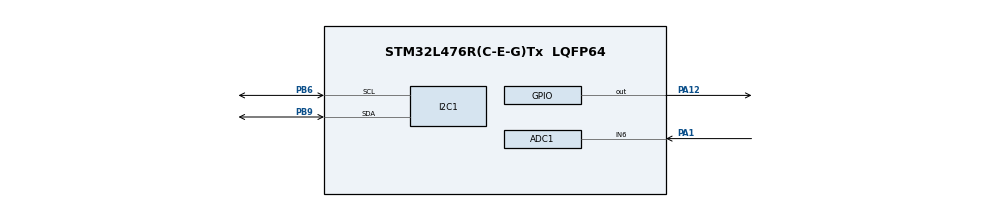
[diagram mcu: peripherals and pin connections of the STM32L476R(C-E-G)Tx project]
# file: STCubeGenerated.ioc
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Mcu.Family=STM32L4
RCC.MSI_VALUE=4000000
PA14\ (JTCK-SWCLK).Mode=Serial_Wire
ADC1.Rank-0\#ChannelRegularConversion=1
VP_ADC1_TempSens_Input.Mode=IN-TempSens
SH.ADCx_IN6.0=ADC1_IN6,IN6-Single-Ended
PH0-OSC_IN\ (PH0).Signal=RCC_OSC_IN
ADC1.OffsetNumber-0\#ChannelRegularConversion=ADC_OFFSET_NONE
PH1-OSC_OUT\ (PH1).Signal=RCC_OSC_OUT
ProjectManager.StackSize=0x400
PA14\ (JTCK-SWCLK).Signal=SYS_JTCK-SWCLK
PA12.Signal=GPIO_Output
ProjectManager.TargetToolchain=MDK-ARM V5
PB9.Mode=I2C
PB6.Signal=I2C1_SCL
PB6.Mode=I2C
RCC.USBFreq_Value=32000000
RCC.LSE_VALUE=32768
PA1.Signal=ADCx_IN6
ADC1.Channel-0\#ChannelRegularConversion=ADC_CHANNEL_TEMPSENSOR
PH1-OSC_OUT\ (PH1).Mode=HSE-External-Oscillator
RCC.HSE_VALUE=8000000
board=custom
RCC.VCOOutputFreq_Value=32000000
RCC.ADCFreq_Value=32000000
Mcu.Name=STM32L476R(C-E-G)Tx
ADC1.SamplingTime-0\#ChannelRegularConversion=ADC_SAMPLETIME_2CYCLES_5
PA13\ (JTMS-SWDIO).Mode=Serial_Wire
Mcu.Package=LQFP64
PB9.Signal=I2C1_SDA
ADC1.master=1
ProjectManager.HeapSize=0x200
RCC.HSI_VALUE=16000000
NVIC.PriorityGroup=NVIC_PRIORITYGROUP_4
ADC1.NbrOfConversionFlag=1
PA13\ (JTMS-SWDIO).Signal=SYS_JTMS-SWDIO
PH0-OSC_IN\ (PH0).Mode=HSE-External-Oscillator
RCC.PLLSAI1N=16

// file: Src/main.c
/* USER CODE BEGIN Header */
/* USER CODE END Header */

#include "main.h"
#include "math.h"
#include "C:\Users\harry\Documents\Analog_TemperatureSensor_Test\i2c-lcd.h"
#include "C:\Users\harry\Documents\Analog_TemperatureSensor_Test\i2c-lcd.c"

ADC_HandleTypeDef hadc1;

I2C_HandleTypeDef hi2c1;

/* USER CODE BEGIN PV */

// Reverses a string 'str' of length 'len'
void reverse(char* str, int len)
{
    int i = 0, j = len - 1, temp;
    while (i < j) {
        temp = str[i];
        str[i] = str[j];
        str[j] = temp;
        i++;
        j--;
    }
}

// Converts a given integer x to string str[].
// d is the number of digits required in the output.
// If d is more than the number of digits in x,
// then 0s are added at the beginning.
int intToStr(int x, char str[], int d)
{
    int i = 0;
    while (x) {
        str[i++] = (x % 10) + '0';
        x = x / 10;
    }

    // If number of digits required is more, then
    // add 0s at the beginning
    while (i < d)
        str[i++] = '0';

    reverse(str, i);
    str[i] = '\0';
    return i;
}

// Converts a floating-point/double number to a string.
void ftoa(float n, char* res, int afterpoint)
{
    // Extract integer part
    int ipart = (int)n;

    // Extract floating part
    float fpart = n - (float)ipart;

    // convert integer part to string
    int i = intToStr(ipart, res, 0);

    // check for display option after point
    if (afterpoint != 0) {
        res[i] = '.'; // add dot

        // Get the value of fraction part upto given no.
        // of points after dot. The third parameter
        // is needed to handle cases like 233.007
        fpart = fpart * pow(10, afterpoint);

        intToStr((int)fpart, res + i + 1, afterpoint);
    }
}
/* USER CODE END PV */

void SystemClock_Config(void);
static void MX_GPIO_Init(void);
static void MX_ADC1_Init(void);
static void MX_I2C1_Init(void);

/* USER CODE BEGIN 0 */
uint32_t adcval;
float temp;
char temp_string[11];
/* USER CODE END 0 */

int main(void)
{

  /* MCU Configuration--------------------------------------------------------*/

  /* Reset of all peripherals, Initializes the Flash interface and the Systick. */
  HAL_Init();

  /* Configure the system clock */
  SystemClock_Config();

  /* Initialize all configured peripherals */
  MX_GPIO_Init();
  MX_ADC1_Init();
  MX_I2C1_Init();

  /* Infinite loop */
  /* USER CODE BEGIN WHILE */
	lcd_init();
	 while (1)
  {
    /* USER CODE END WHILE */

    /* USER CODE BEGIN 3 */

		HAL_ADC_Start(&hadc1);
		if(HAL_ADC_PollForConversion(&hadc1,100000) == HAL_OK){
			adcval = HAL_ADC_GetValue(&hadc1);
			temp = ((adcval * 50.0)/4095.0);
			lcd_put_cur(0,0);
			lcd_send_string("CurrentTemp:");
			HAL_Delay(1000);
			lcd_put_cur(1,0);
			ftoa(temp,temp_string,7);
			lcd_send_string(temp_string);
			lcd_send_string("°C");
			HAL_Delay(1000);
			lcd_clear();

		}
  }
  /* USER CODE END 3 */
}

void SystemClock_Config(void)
{
  RCC_OscInitTypeDef RCC_OscInitStruct = {0};
  RCC_ClkInitTypeDef RCC_ClkInitStruct = {0};
  RCC_PeriphCLKInitTypeDef PeriphClkInit = {0};

  /** Initializes the CPU, AHB and APB busses clocks
  */
  RCC_OscInitStruct.OscillatorType = RCC_OSCILLATORTYPE_MSI;
  RCC_OscInitStruct.MSIState = RCC_MSI_ON;
  RCC_OscInitStruct.MSICalibrationValue = 0;
  RCC_OscInitStruct.MSIClockRange = RCC_MSIRANGE_6;
  RCC_OscInitStruct.PLL.PLLState = RCC_PLL_NONE;
  if (HAL_RCC_OscConfig(&RCC_OscInitStruct) != HAL_OK)
  {
    Error_Handler();
  }
  /** Initializes the CPU, AHB and APB busses clocks
  */
  RCC_ClkInitStruct.ClockType = RCC_CLOCKTYPE_HCLK|RCC_CLOCKTYPE_SYSCLK
                              |RCC_CLOCKTYPE_PCLK1|RCC_CLOCKTYPE_PCLK2;
  RCC_ClkInitStruct.SYSCLKSource = RCC_SYSCLKSOURCE_MSI;
  RCC_ClkInitStruct.AHBCLKDivider = RCC_SYSCLK_DIV1;
  RCC_ClkInitStruct.APB1CLKDivider = RCC_HCLK_DIV1;
  RCC_ClkInitStruct.APB2CLKDivider = RCC_HCLK_DIV1;

  if (HAL_RCC_ClockConfig(&RCC_ClkInitStruct, FLASH_LATENCY_0) != HAL_OK)
  {
    Error_Handler();
  }
  PeriphClkInit.PeriphClockSelection = RCC_PERIPHCLK_I2C1|RCC_PERIPHCLK_ADC;
  PeriphClkInit.I2c1ClockSelection = RCC_I2C1CLKSOURCE_PCLK1;
  PeriphClkInit.AdcClockSelection = RCC_ADCCLKSOURCE_PLLSAI1;
  PeriphClkInit.PLLSAI1.PLLSAI1Source = RCC_PLLSOURCE_MSI;
  PeriphClkInit.PLLSAI1.PLLSAI1M = 1;
  PeriphClkInit.PLLSAI1.PLLSAI1N = 16;
  PeriphClkInit.PLLSAI1.PLLSAI1P = RCC_PLLP_DIV7;
  PeriphClkInit.PLLSAI1.PLLSAI1Q = RCC_PLLQ_DIV2;
  PeriphClkInit.PLLSAI1.PLLSAI1R = RCC_PLLR_DIV2;
  PeriphClkInit.PLLSAI1.PLLSAI1ClockOut = RCC_PLLSAI1_ADC1CLK;
  if (HAL_RCCEx_PeriphCLKConfig(&PeriphClkInit) != HAL_OK)
  {
    Error_Handler();
  }
  /** Configure the main internal regulator output voltage
  */
  if (HAL_PWREx_ControlVoltageScaling(PWR_REGULATOR_VOLTAGE_SCALE1) != HAL_OK)
  {
    Error_Handler();
  }
}

static void MX_ADC1_Init(void)
{

  ADC_MultiModeTypeDef multimode = {0};
  ADC_ChannelConfTypeDef sConfig = {0};

  /** Common config
  */
  hadc1.Instance = ADC1;
  hadc1.Init.ClockPrescaler = ADC_CLOCK_ASYNC_DIV1;
  hadc1.Init.Resolution = ADC_RESOLUTION_12B;
  hadc1.Init.DataAlign = ADC_DATAALIGN_RIGHT;
  hadc1.Init.ScanConvMode = ADC_SCAN_DISABLE;
  hadc1.Init.EOCSelection = ADC_EOC_SINGLE_CONV;
  hadc1.Init.LowPowerAutoWait = DISABLE;
  hadc1.Init.ContinuousConvMode = DISABLE;
  hadc1.Init.NbrOfConversion = 1;
  hadc1.Init.DiscontinuousConvMode = DISABLE;
  hadc1.Init.NbrOfDiscConversion = 1;
  hadc1.Init.ExternalTrigConv = ADC_SOFTWARE_START;
  hadc1.Init.ExternalTrigConvEdge = ADC_EXTERNALTRIGCONVEDGE_NONE;
  hadc1.Init.DMAContinuousRequests = DISABLE;
  hadc1.Init.Overrun = ADC_OVR_DATA_PRESERVED;
  hadc1.Init.OversamplingMode = DISABLE;
  if (HAL_ADC_Init(&hadc1) != HAL_OK)
  {
    Error_Handler();
  }
  /** Configure the ADC multi-mode
  */
  multimode.Mode = ADC_MODE_INDEPENDENT;
  if (HAL_ADCEx_MultiModeConfigChannel(&hadc1, &multimode) != HAL_OK)
  {
    Error_Handler();
  }
  /** Configure Regular Channel
  */
  sConfig.Channel = ADC_CHANNEL_TEMPSENSOR;
  sConfig.Rank = ADC_REGULAR_RANK_1;
  sConfig.SamplingTime = ADC_SAMPLETIME_2CYCLES_5;
  sConfig.SingleDiff = ADC_SINGLE_ENDED;
  sConfig.OffsetNumber = ADC_OFFSET_NONE;
  sConfig.Offset = 0;
  if (HAL_ADC_ConfigChannel(&hadc1, &sConfig) != HAL_OK)
  {
    Error_Handler();
  }

}

static void MX_I2C1_Init(void)
{

  hi2c1.Instance = I2C1;
  hi2c1.Init.Timing = 0x00000E14;
  hi2c1.Init.OwnAddress1 = 0;
  hi2c1.Init.AddressingMode = I2C_ADDRESSINGMODE_7BIT;
  hi2c1.Init.DualAddressMode = I2C_DUALADDRESS_DISABLE;
  hi2c1.Init.OwnAddress2 = 0;
  hi2c1.Init.OwnAddress2Masks = I2C_OA2_NOMASK;
  hi2c1.Init.GeneralCallMode = I2C_GENERALCALL_DISABLE;
  hi2c1.Init.NoStretchMode = I2C_NOSTRETCH_DISABLE;
  if (HAL_I2C_Init(&hi2c1) != HAL_OK)
  {
    Error_Handler();
  }
  /** Configure Analogue filter
  */
  if (HAL_I2CEx_ConfigAnalogFilter(&hi2c1, I2C_ANALOGFILTER_ENABLE) != HAL_OK)
  {
    Error_Handler();
  }
  /** Configure Digital filter
  */
  if (HAL_I2CEx_ConfigDigitalFilter(&hi2c1, 0) != HAL_OK)
  {
    Error_Handler();
  }

}

static void MX_GPIO_Init(void)
{
  GPIO_InitTypeDef GPIO_InitStruct = {0};

  /* GPIO Ports Clock Enable */
  __HAL_RCC_GPIOH_CLK_ENABLE();
  __HAL_RCC_GPIOA_CLK_ENABLE();
  __HAL_RCC_GPIOB_CLK_ENABLE();

  /*Configure GPIO pin Output Level */
  HAL_GPIO_WritePin(GPIOA, GPIO_PIN_12, GPIO_PIN_RESET);

  /*Configure GPIO pin : PA12 */
  GPIO_InitStruct.Pin = GPIO_PIN_12;
  GPIO_InitStruct.Mode = GPIO_MODE_OUTPUT_PP;
  GPIO_InitStruct.Pull = GPIO_NOPULL;
  GPIO_InitStruct.Speed = GPIO_SPEED_FREQ_LOW;
  HAL_GPIO_Init(GPIOA, &GPIO_InitStruct);

}

void Error_Handler(void)
{
}

/************************ (C) COPYRIGHT STMicroelectronics *****END OF FILE****/
